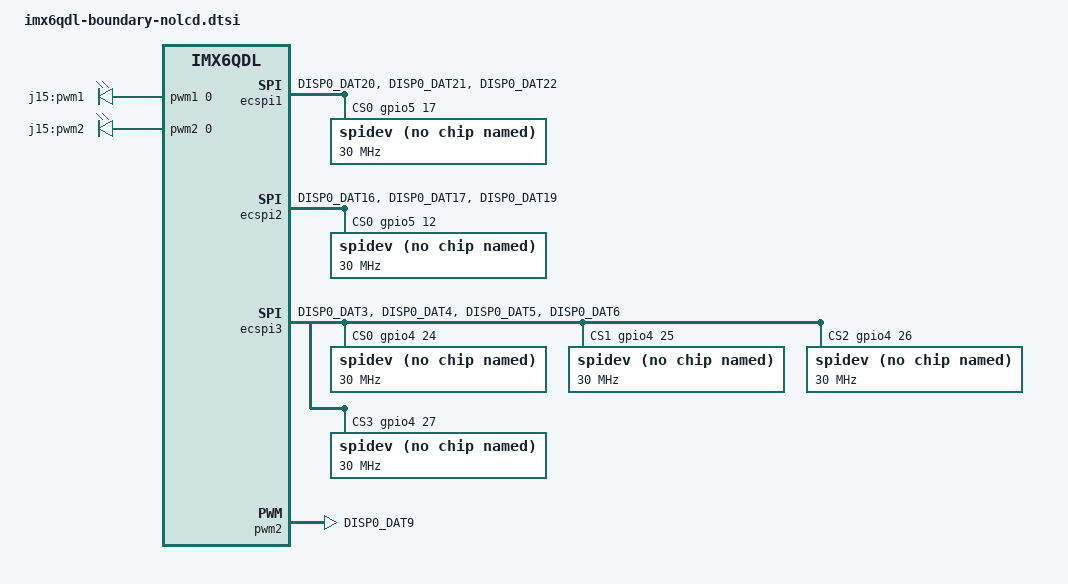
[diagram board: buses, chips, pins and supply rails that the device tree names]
/*
 * Copyright 2012 Freescale Semiconductor, Inc.
 * Copyright 2011 Linaro Ltd.
 *
 * The code contained herein is licensed under the GNU General Public
 * License. You may obtain a copy of the GNU General Public License
 * Version 2 or later at the following locations:
 *
 * http://www.opensource.org/licenses/gpl-license.html
 * http://www.gnu.org/copyleft/gpl.html
 */
&lcd0 {
	status = "disabled";
};

&backlight_lcd {
	status = "disabled";
};

/ {
	pwmleds {
		compatible = "pwm-leds";

		j15_pwm1 {
			label = "j15:pwm1";
			pwms = <&pwm1 0 5000000>;
			max-brightness = <255>;
		};
		j15_pwm2 {
			label = "j15:pwm2";
			pwms = <&pwm2 0 5000000>;
			max-brightness = <255>;
		};
	};
};

&iomuxc {
	ecspi1 {
		pinctrl_ecspi1_3: ecspi1grp-3 {
			fsl,pins = <
				MX6QDL_PAD_DISP0_DAT20__ECSPI1_SCLK 0x100b1
				MX6QDL_PAD_DISP0_DAT21__ECSPI1_MOSI 0x100b1
				MX6QDL_PAD_DISP0_DAT22__ECSPI1_MISO 0x100b1
			>;
		};
	};
	ecspi2 {
		pinctrl_ecspi2_cs_1: ecspi2_cs_grp-1 {
			fsl,pins = <
				MX6QDL_PAD_DISP0_DAT18__GPIO5_IO12 0x80000000
			>;
		};
		pinctrl_ecspi2_1: ecspi2grp-1 {
			fsl,pins = <
				MX6QDL_PAD_DISP0_DAT16__ECSPI2_MOSI 0x100b1
				MX6QDL_PAD_DISP0_DAT17__ECSPI2_MISO 0x100b1
				MX6QDL_PAD_DISP0_DAT19__ECSPI2_SCLK 0x100b1
			>;
		};
	};
	ecspi3 {
		pinctrl_ecspi3_cs_1: ecspi3_cs_grp-1 {
			fsl,pins = <
				MX6QDL_PAD_DISP0_DAT3__GPIO4_IO24 0x80000000
			>;
		};
		pinctrl_ecspi3_cs_2: ecspi3_cs_grp-2 {
			fsl,pins = <
				MX6QDL_PAD_DISP0_DAT4__GPIO4_IO25 0x80000000
			>;
		};
		pinctrl_ecspi3_cs_3: ecspi3_cs_grp-3 {
			fsl,pins = <
				MX6QDL_PAD_DISP0_DAT5__GPIO4_IO26 0x80000000
			>;
		};
		pinctrl_ecspi3_cs_4: ecspi3_cs_grp-4 {
			fsl,pins = <
				MX6QDL_PAD_DISP0_DAT6__GPIO4_IO27 0x80000000
			>;
		};
	};
};

&flash {
	status = "disabled" ;
};

&ecspi1 {
	fsl,spi-num-chipselects = <1>;
	cs-gpios = <&gpio5 17 0>;
	pinctrl-names = "default";
	pinctrl-0 = <&pinctrl_ecspi1_3>;
	status = "okay";
        spidev@0x00 {
                compatible = "spidev";
                spi-max-frequency = <30000000>;
                reg = <0>;
        };
};

&ecspi2 {
	fsl,spi-num-chipselects = <1>;
	cs-gpios = <&gpio5 12 0>;
	pinctrl-names = "default";
	pinctrl-0 = <&pinctrl_ecspi2_1>;
	status = "okay";
        spidev@0x00 {
                compatible = "spidev";
                spi-max-frequency = <30000000>;
                reg = <0>;
        };
};

&ecspi3 {
	fsl,spi-num-chipselects = <4>;
	cs-gpios = <&gpio4 24 0>,
		   <&gpio4 25 0>,
		   <&gpio4 26 0>,
		   <&gpio4 27 0>;
	pinctrl-names = "default";
	pinctrl-0 = <&pinctrl_ecspi3_1 
	             &pinctrl_ecspi3_cs_1
		     &pinctrl_ecspi3_cs_2
		     &pinctrl_ecspi3_cs_3
		     &pinctrl_ecspi3_cs_4>;
	status = "okay";
        spidev@0x00 {
                compatible = "spidev";
                spi-max-frequency = <30000000>;
                reg = <0>;
        };
        spidev@0x01 {
                compatible = "spidev";
                spi-max-frequency = <30000000>;
                reg = <1>;
        };
        spidev@0x02 {
                compatible = "spidev";
                spi-max-frequency = <30000000>;
                reg = <2>;
        };
        spidev@0x03 {
                compatible = "spidev";
                spi-max-frequency = <30000000>;
                reg = <3>;
        };
};

&tsc2004 {
	status = "disabled";
};

&iomuxc {
	pinctrl-names = "default";
	pinctrl-0 = <
		&pinctrl_hog_1
		&pinctrl_lcd_gpios_1
	>;

	imx6q-sabrelite {
		pinctrl_lcd_gpios_1: hoggrp-2 {
			fsl,pins = <
				MX6QDL_PAD_DI0_DISP_CLK__GPIO4_IO16	0x1b0b0
				MX6QDL_PAD_DI0_PIN15__GPIO4_IO17	0x1b0b0
				MX6QDL_PAD_DI0_PIN2__GPIO4_IO18		0x1b0b0
				MX6QDL_PAD_DI0_PIN3__GPIO4_IO19		0x1b0b0
				MX6QDL_PAD_DI0_PIN4__GPIO4_IO20		0x1b0b0
				MX6QDL_PAD_DISP0_DAT7__GPIO4_IO28	0x1b0b0
				MX6QDL_PAD_DISP0_DAT8__GPIO4_IO29	0x1b0b0
				MX6QDL_PAD_DISP0_DAT10__GPIO4_IO31	0x1b0b0
				MX6QDL_PAD_DISP0_DAT11__GPIO5_IO05	0x1b0b0
				MX6QDL_PAD_DISP0_DAT12__GPIO5_IO06	0x1b0b0
				MX6QDL_PAD_DISP0_DAT13__GPIO5_IO07	0x1b0b0
				MX6QDL_PAD_DISP0_DAT14__GPIO5_IO08	0x1b0b0
				MX6QDL_PAD_DISP0_DAT15__GPIO5_IO09	0x1b0b0
			>;
		};
	};

	pwm2 {
		pinctrl_pwm2_1: pwm2grp-1 {
			fsl,pins = <
				MX6QDL_PAD_DISP0_DAT9__PWM2_OUT 0x1b0b1
			>;
		};
	};
};

&pwm2 {
	pinctrl-names = "default";
	pinctrl-0 = <&pinctrl_pwm2_1>;
	status = "okay";
};

